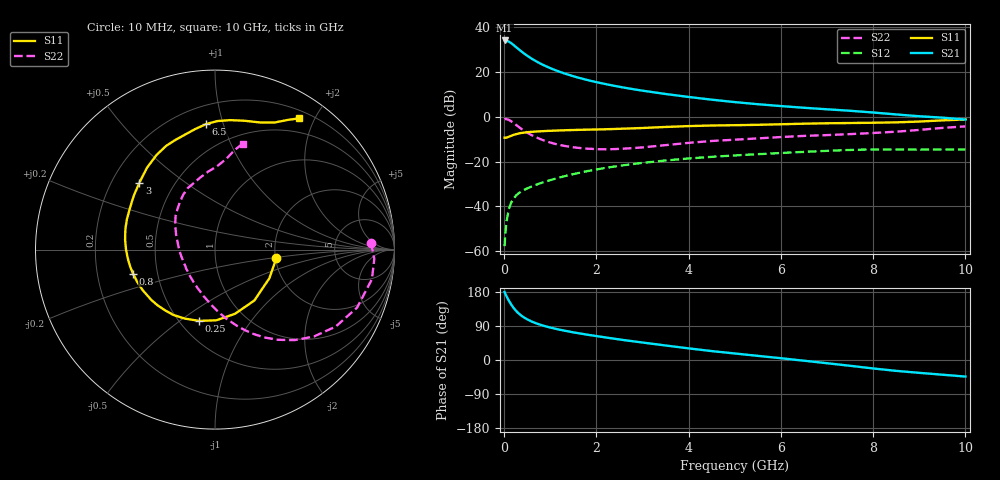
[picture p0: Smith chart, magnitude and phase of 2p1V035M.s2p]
! (c) 2009  Infineon Technologies AG, Munich
! Infineon Technologies  Discrete & RF Semiconductors
! BFP420
! VCE =  1.0 V,  IC =  35 mA
! Common Emitter S-Parameters:  Nov 2009
# GHz  S  MA  R  50
!  f  S11  S21  S12  S22
! GHz  MAG  ANG  MAG  ANG  MAG  ANG  MAG  ANG
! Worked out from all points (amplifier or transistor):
!   46 points, 10 MHz to 10 GHz, reference 50 ohm
!   highest |S21| = 34.1 dB at 10 MHz (marker M1)
!   |S21| within 3 dB of that: start of sweep to 260.1 MHz
!   unconditionally stable (mu >= 1): start of sweep to 17.36 MHz; 1.282 GHz to end of sweep
!   at 300 MHz: K = 0.47, MSG = 32.4 dB, |S12| = -34.3 dB
!   at 1.7 GHz: K = 1.07, MAG = 19.2 dB, |S12| = -24.7 dB
!   at 10 GHz: K = 1.05, MAG = 5.3 dB, |S12| = -14.5 dB
!   lowest NFmin = 1.64 dB at 900 MHz
!   S11 on the Smith chart (normalised r, x): 10 MHz: 2.00, -0.22; 250 MHz: 0.62, -0.59; 800 MHz: 0.36, -0.13; 3 GHz: 0.32, +0.35; 6.5 GHz: 0.32, +0.88; 10 GHz: 0.30, +1.79
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0.01  0.3414 -8.3  50.42 179.7  0.0013 92.6  0.87 2.4
0.02  0.3411 -12.3  50.02 175.9  0.0021 94.7  0.889 -3.3
0.05  0.3424 -27.8  49.64 168.6  0.0045 85.0  0.8896 -10.7
0.1  0.3585 -52.3  47.58 157.1  0.0086 75.8  0.8551 -22.2
0.15  0.3746 -72.7  44.07 146.9  0.012 70.3  0.7979 -32.5
0.2  0.3939 -88.9  40.26 138.2  0.0148 65.8  0.7336 -41.3
0.25  0.407 -102.6  36.4 130.7  0.0171 62.3  0.6706 -48.8
0.3  0.4197 -113.7  33.04 124.5  0.0192 60.0  0.6118 -55.2
0.35  0.4317 -122.5  30.01 119.3  0.0209 58.4  0.5603 -60.8
0.45  0.4462 -136.2  25.04 110.8  0.0239 56.4  0.4763 -69.9
0.6  0.462 -150.7  19.71 101.3  0.028 55.6  0.3876 -81.0
0.8  0.4757 -163.6  15.12 92.4  0.0333 55.7  0.3129 -92.9
1.2  0.496 179.7  10.12 80.0  0.0442 55.6  0.236 -114.2
1.7  0.5138 165.6  7.047 68.9  0.0583 53.7  0.1985 -137.7
2.2  0.527 154.2  5.356 59.5  0.0724 50.2  0.1883 -158.6
3  0.5624 138.5  3.826 46.1  0.0937 43.1  0.2075 172.5
3.5  0.593 129.7  3.223 38.3  0.106 38.2  0.2332 158.5
5.5  0.6624 104.5  1.907 10.9  0.1465 18.9  0.3293 126.4
6.5  0.7013 94.0  1.589 -1.9  0.1647 9.3  0.3747 113.9
7  0.7164 88.9  1.47 -8.5  0.1741 4.2  0.3904 107.3
8.5  0.751 70.6  1.128 -28.7  0.1858 -13.2  0.465 88.5
10  0.8687 57.3  0.867 -43.7  0.1874 -24.3  0.611 75.3
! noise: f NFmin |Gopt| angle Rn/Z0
0.9  1.64  0.3  -155  0.13
1.8  1.9  0.37  -142  0.15
2.4  2.1  0.34  -134  0.19
3  2.11  0.4  -126  0.22
4  2.25  0.5  -110  0.35
5  2.73  0.54  -94  0.59
6  3.16  0.59  -82  0.84
